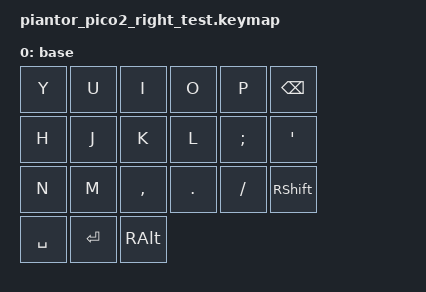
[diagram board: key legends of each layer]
#include <behaviors.dtsi>
#include <dt-bindings/zmk/keys.h>

/ {
    keymap {
        compatible = "zmk,keymap";

        base {
            bindings = <
                &kp Y      &kp U      &kp I      &kp O      &kp P          &kp BACKSPACE
                &kp H      &kp J      &kp K      &kp L      &kp SEMICOLON  &kp SINGLE_QUOTE
                &kp N      &kp M      &kp COMMA  &kp DOT    &kp SLASH      &kp RIGHT_SHIFT
                &kp SPACE  &kp ENTER  &kp RIGHT_ALT
            >;
        };
    };
};
